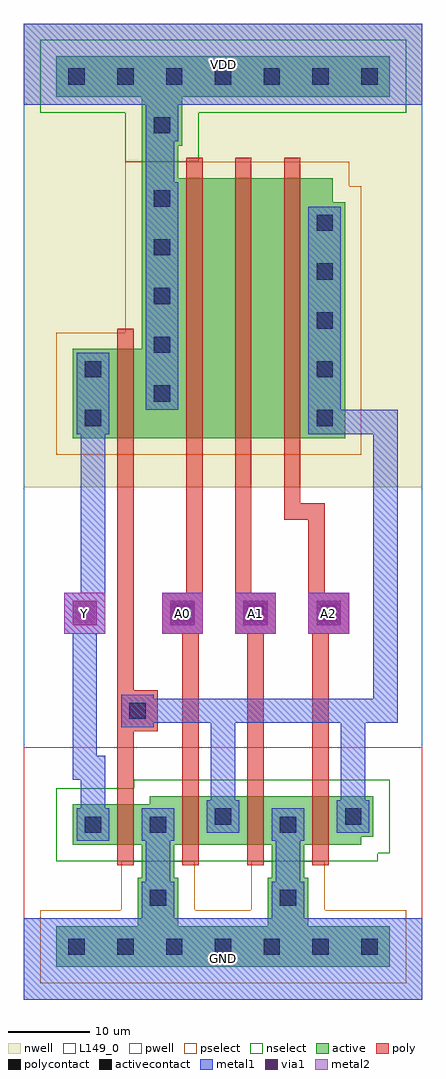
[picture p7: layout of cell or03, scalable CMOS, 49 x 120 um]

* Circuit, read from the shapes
.subckt or03 A0 A1 A2 GND VDD Y
M1 GND n1 Y GND nfet w=5u l=2u
M2 n1 A0 GND GND nfet w=6u l=2u
M3 GND A1 n1 GND nfet w=6u l=2u
M4 n1 A2 GND GND nfet w=6u l=2u
M5 VDD n1 Y VDD pfet w=11u l=2u
M6 n2 A0 VDD VDD pfet w=32u l=2u
M7 n3 A1 n2 VDD pfet w=32u l=2u
M8 n1 A2 n3 VDD pfet w=32u l=2u
.ends

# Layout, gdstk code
import gdstk
lib = gdstk.Library(unit=1e-6, precision=1e-09)
def R(c, l, rs):  # rectangles x0, y0, x1, y1
    for r in rs: c.add(gdstk.rectangle(r[:2], r[2:], *l))
def A(c, l, x, y, w, h, nx, ny, dx, dy):  # array of equal rectangles
    R(c, l, [(x+i*dx, y+j*dy, x+i*dx+w, y+j*dy+h) for i in range(nx) for j in range(ny)])
def P(c, l, *ps):  # polygons
    for p in ps: c.add(gdstk.Polygon(p, *l))
pwell = (41, 0)
nwell = (42, 0)
active = (43, 0)
pselect = (44, 0)
nselect = (45, 0)
poly = (46, 0)
polycontact = (47, 0)
activecontact = (48, 0)
metal1 = (49, 0)
via1 = (50, 0)
metal2 = (51, 0)
L149_0 = (149, 0)

via = lib.new_cell('via')
R(via, metal1, [(-2.5,-2.5,2.5,2.5)])
R(via, via1, [(-1.5,-1.5,1.5,1.5)])
R(via, metal2, [(-2.5,-2.5,2.5,2.5)])

or03 = lib.new_cell('or03')
R(or03, pwell, [(0,0,49,31)])
P(or03, pwell, [(47.5,13),(47.5,14),(49,14),(49,31),(9.5,31),(9.5,30),(0,30),(0,13)])
R(or03, nwell, [(0,63,49,120)])
P(or03, nwell, [(45.5,63),(45.5,104),(44,104),(44,107),(8.5,107),(8.5,86),(0,86),(0,63)])
R(or03, active, [(4,4,45,9), (14,9,19,15), (30,9,35,15), (14.5,15,18.5,19), (30.5,15,34.5,19), (6,19,11.5,24), (6,69,11.5,80), (14.5,101,19,105), (14.5,105,19.5,111), (4,111,45,116)])
P(or03, active, [(41.5,19),(41.5,20),(43,20),(43,25),(15.5,25),(15.5,24),(6,24),(6,19)],
  [(41.5,19),(41.5,20),(43,20),(43,25),(37.5,25),(37.5,19)],
  [(39.5,69),(39.5,98),(38,98),(38,101),(14.5,101),(14.5,80),(6,80),(6,69)],
  [(39.5,69),(39.5,98),(38,98),(38,101),(34,101),(34,69)])
R(or03, pselect, [(2,2,47,11), (12,11,21,17), (28,11,37,17)])
P(or03, pselect, [(41.5,67),(41.5,100),(40,100),(40,103),(12.5,103),(12.5,82),(4,82),(4,67)])
R(or03, nselect, [(12.5,103,21.5,109), (2,109,47,118)])
P(or03, nselect, [(43.5,17),(43.5,18),(45,18),(45,27),(13.5,27),(13.5,26),(4,26),(4,17)])
A(or03, poly, 11.5, 16.5, 2, 2.5, 4, 1, 8, 0)
A(or03, poly, 19.5, 19, 2, 6, 3, 1, 8, 0)
A(or03, poly, 19.5, 25, 2, 2.5, 3, 1, 8, 0)
A(or03, poly, 17, 45, 5, 5, 3, 1, 9, 0)
A(or03, poly, 20, 66.5, 2, 2.5, 3, 2, 6, 34.5)
A(or03, poly, 20, 69, 2, 32, 3, 1, 6, 0)
R(or03, poly, [(11.5,19,13.5,24), (11.5,24,13.5,26.5), (11.5,33,16.5,38), (11.5,66.5,13.5,69), (11.5,69,13.5,80), (11.5,80,13.5,82.5)])
A(or03, polycontact, 18.5, 46.5, 2, 2, 3, 1, 9, 0)
R(or03, polycontact, [(13,34.5,15,36.5)])
A(or03, activecontact, 5.5, 5.5, 2, 2, 7, 2, 6, 107)
A(or03, activecontact, 36, 70.5, 2, 2, 1, 5, 0, 6)
A(or03, activecontact, 16, 73.5, 2, 2, 1, 5, 0, 6)
R(or03, activecontact, [(15.5,11.5,17.5,13.5), (31.5,11.5,33.5,13.5), (7.5,20.5,9.5,22.5), (15.5,20.5,17.5,22.5), (31.5,20.5,33.5,22.5), (23.5,21.5,25.5,23.5), (39.5,21.5,41.5,23.5), (7.5,70.5,9.5,72.5), (7.5,76.5,9.5,78.5), (16,106.5,18,108.5)])
A(or03, metal1, 17.5, 45.5, 4, 4, 3, 1, 9, 0)
R(or03, metal1, [(0,0,49,10), (14.5,10,18.5,14.5), (30.5,10,34.5,14.5), (15,14.5,18,19.5), (31,14.5,34,19.5), (6.5,19.5,10.5,23.5), (14.5,19.5,18.5,23.5), (30.5,19.5,34.5,23.5), (22.5,20.5,26.5,24.5), (38.5,20.5,42.5,24.5), (12,33.5,16,37.5), (6.5,69.5,10.5,79.5), (35,69.5,39,97.5), (15,72.5,19,100.5), (15,100.5,18.5,105.5), (15,105.5,19,110), (0,110,49,120)])
A(or03, metal2, 17, 45, 5, 5, 3, 1, 9, 0)
R(or03, metal2, [(5,45,10,50)])
R(or03, L149_0, [(0,0,49,120)])
or03.add(gdstk.FlexPath([(12.5,26.5),(12.5,66.5)], 2, ends="flush", simple_path=True, layer=46, datatype=0))  # poly
or03.add(gdstk.FlexPath([(21,66.5),(21,50)], 2, ends="flush", simple_path=True, layer=46, datatype=0))  # poly
or03.add(gdstk.FlexPath([(27,66.5),(27,50)], 2, ends="flush", simple_path=True, layer=46, datatype=0))  # poly
or03.add(gdstk.FlexPath([(28.5,27.5),(28.5,45)], 2, ends="flush", simple_path=True, layer=46, datatype=0))  # poly
or03.add(gdstk.FlexPath([(20.5,27.5),(20.5,45)], 2, ends="flush", simple_path=True, layer=46, datatype=0))  # poly
or03.add(gdstk.FlexPath([(36.5,27.5),(36.5,45)], 2, ends="flush", simple_path=True, layer=46, datatype=0))  # poly
or03.add(gdstk.FlexPath([(33,66.5),(33,60),(36,60),(36,50)], 2, ends="flush", simple_path=True, layer=46, datatype=0))  # poly
or03.add(gdstk.FlexPath([(8.5,69.5),(8.5,50)], 3, ends="flush", simple_path=True, layer=49, datatype=0))  # metal1
or03.add(gdstk.FlexPath([(8.5,23.5),(8.5,28.5),(7.5,28.5),(7.5,45)], 3, ends="flush", simple_path=True, layer=49, datatype=0))  # metal1
or03.add(gdstk.FlexPath([(16,35.5),(40.5,35.5),(40.5,24.5)], 3, ends="flush", simple_path=True, layer=49, datatype=0))  # metal1
or03.add(gdstk.FlexPath([(24.5,24.5),(24.5,34)], 3, ends="flush", simple_path=True, layer=49, datatype=0))  # metal1
or03.add(gdstk.FlexPath([(42,35.5),(44.5,35.5),(44.5,71),(39,71)], 3, ends="flush", simple_path=True, layer=49, datatype=0))  # metal1
or03.add(gdstk.Reference(via, (28.5,47.5)))
or03.add(gdstk.Reference(via, (37.5,47.5)))
or03.add(gdstk.Reference(via, (19.5,47.5)))
or03.add(gdstk.Reference(via, (7.5,47.5)))
or03.add(gdstk.Label('GND', (24.5,5), layer=2, texttype=0))
or03.add(gdstk.Label('VDD', (24.5,115), layer=2, texttype=0))
or03.add(gdstk.Label('Y', (7.5,47.5), layer=3, texttype=0))
or03.add(gdstk.Label('A1', (28.5,47.5), layer=3, texttype=0))
or03.add(gdstk.Label('A0', (19.5,47.5), layer=3, texttype=0))
or03.add(gdstk.Label('A2', (37.5,47.5), layer=3, texttype=0))
or03.add(gdstk.Label('GND', (24.5,5), layer=2, texttype=0))
or03.add(gdstk.Label('VDD', (24.5,115), layer=2, texttype=0))
or03.add(gdstk.Label('Y', (7.5,47.5), layer=3, texttype=0))
or03.add(gdstk.Label('A1', (28.5,47.5), layer=3, texttype=0))
or03.add(gdstk.Label('A0', (19.5,47.5), layer=3, texttype=0))
or03.add(gdstk.Label('A2', (37.5,47.5), layer=3, texttype=0))

lib.write_gds('or03.gds')
